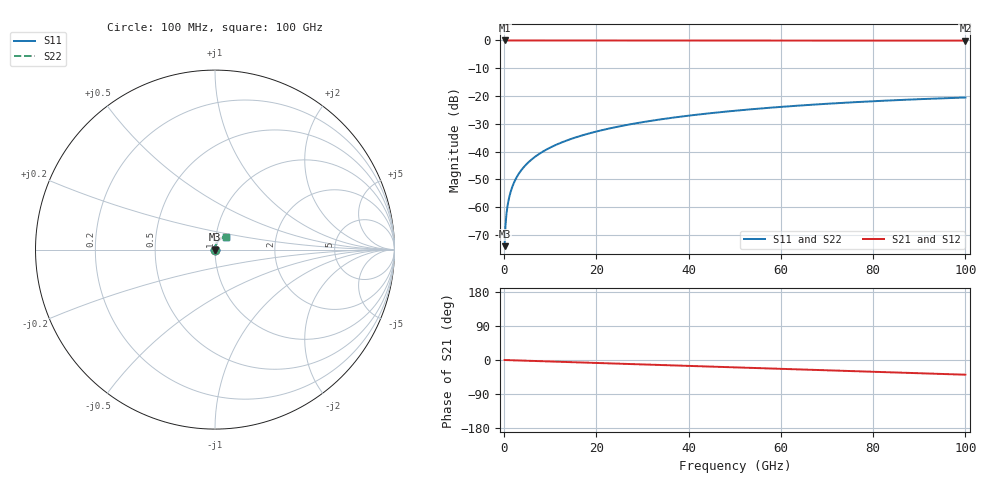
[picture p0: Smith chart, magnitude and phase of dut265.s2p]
! Touchstone file exported from HFSS 2026.1.0
!  File:  C:/ffzhzh/LocalFiles/Ansys_Project_Files/temp_train_TSV_265_1783508566_55944.aedt
!  Generated:  07:04:01 PM Jul  8, 2026
!  Design:  TSV
!  Project:  temp_train_TSV_265_1783508566_55944
! Variables:
!  h_bsmrdl = 2um
!  h_ox = 20um
!  h_rdl = 5um
!  h_sub = 74.77um
!  h_tmrdl = 5um
!  h_tsv = 74.77um
!  h_via = 3um
!  l_bsmrdl = 300um
!  l_sub = 419.34um
!  l_tmrdl = 200um
!  m_sub = 200um
!  pitch = 47.49um
!  r_tsv = 9.67um
!  s_tmrdl = 10um
!  w_bsmrdl = 18um
!  w_sub = 500um
!  w_tmrdl = 12um
!  x_tsv_center1 = 206um
!  x_tsv_center2 = 524um
!  x_tsv_center3 = 736um
!  x_tsv_center4 = 1054um
!  x_tsv_center5 = 1266um
!  x_tsv_center6 = 1584um
# GHz S MA R 50.000000
! Terminal data exported
! Port[1] = TSV1_1_T1
! Port[2] = TSV1_1_T2
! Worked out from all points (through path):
!   1000 points, 100 MHz to 100 GHz, reference 50 ohm
!   highest |S21| = 0.00 dB at 100 MHz (marker M1); lowest = -0.1 dB at 100 GHz (marker M2)
!   group delay of S21, straight-line fit = 1.08 ps
!   lowest |S11| = -74.0 dB at 100 MHz (marker M3), VSWR 1.00, Z = 50 + j0.0155 ohm
!   |S11| at or under -10 dB: start of sweep to end of sweep
!   |S22| runs from -74.0 to -20.5 dB; largest |S21 - S12| = 2.7e-15
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0.1  0.0001996 50.9  0.9999 -0.0  0.9999 -0.0  0.0001996 50.9
! Gamma 0 0 0 0
! Port Impedance 50 0 50 0
0.4  0.000618 73.5  0.9998 -0.2  0.9998 -0.2  0.000618 73.5
0.7  0.001014 76.7  0.9998 -0.3  0.9998 -0.3  0.001014 76.7
0.8  0.001141 77.3  0.9998 -0.3  0.9998 -0.3  0.001141 77.3
1  0.001391 78.3  0.9997 -0.4  0.9997 -0.4  0.001391 78.3
1.3  0.001761 79.4  0.9997 -0.5  0.9997 -0.5  0.001761 79.4
1.8  0.00237 80.5  0.9996 -0.7  0.9996 -0.7  0.00237 80.5
2.3  0.002971 81.2  0.9996 -0.9  0.9996 -0.9  0.002971 81.2
3  0.003802 81.7  0.9995 -1.2  0.9995 -1.2  0.003802 81.7
3.8  0.004739 82.1  0.9995 -1.5  0.9995 -1.5  0.004739 82.1
4.8  0.0059 82.3  0.9994 -1.9  0.9994 -1.9  0.0059 82.3
6  0.007284 82.4  0.9993 -2.4  0.9993 -2.4  0.007284 82.4
8.8  0.01049 82.1  0.9991 -3.4  0.9991 -3.4  0.01049 82.1
12.4  0.01456 81.3  0.9989 -4.8  0.9989 -4.8  0.01456 81.3
16.8  0.01948 80.1  0.9987 -6.6  0.9987 -6.6  0.01948 80.1
24.2  0.02764 77.8  0.9983 -9.4  0.9983 -9.4  0.02764 77.8
33.4  0.03752 74.6  0.9977 -13.0  0.9977 -13.0  0.03752 74.6
41.2  0.04563 71.8  0.9972 -16.0  0.9972 -16.0  0.04563 71.8
50.1  0.05451 68.6  0.9966 -19.5  0.9966 -19.5  0.05451 68.5
66.7  0.06983 62.4  0.9953 -25.9  0.9953 -25.9  0.06983 62.3
83.4  0.08323 56.1  0.994 -32.4  0.994 -32.4  0.08323 56.0
100  0.09404 49.8  0.9927 -38.8  0.9927 -38.8  0.09404 49.8
